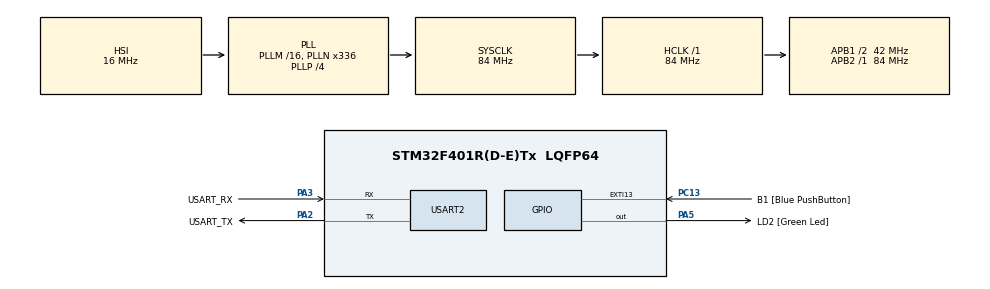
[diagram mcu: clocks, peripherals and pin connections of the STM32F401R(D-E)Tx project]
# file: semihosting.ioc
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Mcu.Family=STM32F4
Mcu.Name=STM32F401R(D-E)Tx
Mcu.Package=LQFP64
NVIC.PriorityGroup=NVIC_PRIORITYGROUP_0
PA13.GPIO_Label=TMS
PA13.Mode=Serial_Wire
PA13.Signal=SYS_JTMS-SWDIO
PA14.GPIO_Label=TCK
PA14.Mode=Serial_Wire
PA14.Signal=SYS_JTCK-SWCLK
PA2.GPIO_Label=USART_TX
PA2.GPIO_Mode=GPIO_MODE_AF_PP
PA2.GPIO_PuPd=GPIO_NOPULL
PA2.GPIO_Speed=GPIO_SPEED_FREQ_LOW
PA2.Mode=Asynchronous
PA2.Signal=USART2_TX
PA3.GPIO_Label=USART_RX
PA3.GPIO_Mode=GPIO_MODE_AF_PP
PA3.GPIO_PuPd=GPIO_NOPULL
PA3.GPIO_Speed=GPIO_SPEED_FREQ_LOW
PA3.Mode=Asynchronous
PA3.Signal=USART2_RX
PA5.GPIO_Label=LD2 [Green Led]
PA5.GPIO_Mode=GPIO_MODE_OUTPUT_PP
PA5.GPIO_PuPd=GPIO_NOPULL
PA5.GPIO_Speed=GPIO_SPEED_FREQ_LOW
PA5.Signal=GPIO_Output
PB3.GPIO_Label=SWO
PB3.Signal=SYS_JTDO-SWO
PC13-ANTI_TAMP.GPIO_Label=B1 [Blue PushButton]
PC13-ANTI_TAMP.GPIO_ModeDefaultEXTI=GPIO_MODE_IT_FALLING
PC13-ANTI_TAMP.GPIO_PuPd=GPIO_NOPULL
PC13-ANTI_TAMP.Signal=GPXTI13
PC14-OSC32_IN.Mode=LSE-External-Oscillator
PC14-OSC32_IN.Signal=RCC_OSC32_IN
PC15-OSC32_OUT.Mode=LSE-External-Oscillator
PC15-OSC32_OUT.Signal=RCC_OSC32_OUT
PH0\ -\ OSC_IN.Mode=HSE-External-Clock-Source
PH0\ -\ OSC_IN.Signal=RCC_OSC_IN
PH1\ -\ OSC_OUT.Mode=HSE-External-Clock-Source
PH1\ -\ OSC_OUT.Signal=RCC_OSC_OUT
ProjectManager.HeapSize=0x200
ProjectManager.StackSize=0x400
ProjectManager.TargetToolchain=STM32CubeIDE
RCC.48MHZClocksFreq_Value=48000000
RCC.AHBFreq_Value=84000000
RCC.APB1CLKDivider=RCC_HCLK_DIV2
RCC.APB1Freq_Value=42000000
RCC.APB1TimFreq_Value=84000000
RCC.APB2Freq_Value=84000000
RCC.APB2TimFreq_Value=84000000
RCC.CortexFreq_Value=84000000
RCC.HCLKFreq_Value=84000000
RCC.HSE_VALUE=8000000
RCC.HSI_VALUE=16000000
RCC.PLLN=336
RCC.PLLP=RCC_PLLP_DIV4
RCC.PLLQ=7
RCC.SYSCLKFreq_VALUE=84000000
RCC.SYSCLKSource=RCC_SYSCLKSOURCE_PLLCLK
RCC.VCOOutputFreq_Value=336000000
USART2.VirtualMode=VM_ASYNC
board=NUCLEO-F401RE

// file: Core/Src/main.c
/* USER CODE BEGIN Header */
/**
  ******************************************************************************
  * @file           : main.c
  * @brief          : Main program body
  ******************************************************************************
  * @attention
  *
  * Copyright (c) 2024 STMicroelectronics.
  * All rights reserved.
  *
  * This software is licensed under terms that can be found in the LICENSE file
  * in the root directory of this software component.
  * If no LICENSE file comes with this software, it is provided AS-IS.
  *
  ******************************************************************************
  */
/* USER CODE END Header */
#include "main.h"
#include <string.h>
#include <stdio.h>

UART_HandleTypeDef huart2;

void SystemClock_Config(void);
static void MX_GPIO_Init(void);
static void MX_USART2_UART_Init(void);

/* USER CODE BEGIN 0 */
extern void initialise_monitor_handles(void);
/* USER CODE END 0 */

int main(void)
{
  /* USER CODE BEGIN 1 */
	char buffer[255];
	uint8_t counter = 0;
	initialise_monitor_handles();
  /* USER CODE END 1 */

  /* MCU Configuration--------------------------------------------------------*/

  /* Reset of all peripherals, Initializes the Flash interface and the Systick. */
  HAL_Init();

  /* Configure the system clock */
  SystemClock_Config();

  /* Initialize all configured peripherals */
  MX_GPIO_Init();
  MX_USART2_UART_Init();
  /* USER CODE BEGIN 2 */
  printf("Hello World\nEnter your name: ");
  //HAL_Delay(1000);
  gets(buffer);
  //HAL_Delay(1000);
  printf("\nHello %s!!!\n", buffer);
  //File Descriptor to Text File
  FILE *fd_txt_file = fopen("/home/shankaraditya/STM32CubeIDE/workspace_1.14.0/semihosting/sample1.txt", "w+");
  //File Descriptor to Binary File
  FILE *fd_binary_file = fopen("/home/shankaraditya/STM32CubeIDE/workspace_1.14.0/semihosting/sample2.bin", "wb+");
  if(fd_txt_file)
  {
	 fprintf(fd_txt_file, "%s", buffer);
	 fclose(fd_txt_file);
  }
  if(fd_binary_file)
  {
	  fwrite(&buffer, sizeof(char), 1, fd_binary_file);
	  fclose(fd_binary_file);
  }
  /* USER CODE END 2 */

  /* Infinite loop */
  while (1)
  {
	  printf("Counter = %d\n", counter++);
  }
}

void SystemClock_Config(void)
{
  RCC_OscInitTypeDef RCC_OscInitStruct = {0};
  RCC_ClkInitTypeDef RCC_ClkInitStruct = {0};

  /** Configure the main internal regulator output voltage
  */
  __HAL_RCC_PWR_CLK_ENABLE();
  __HAL_PWR_VOLTAGESCALING_CONFIG(PWR_REGULATOR_VOLTAGE_SCALE2);

  /** Initializes the RCC Oscillators according to the specified parameters
  * in the RCC_OscInitTypeDef structure.
  */
  RCC_OscInitStruct.OscillatorType = RCC_OSCILLATORTYPE_HSI;
  RCC_OscInitStruct.HSIState = RCC_HSI_ON;
  RCC_OscInitStruct.HSICalibrationValue = RCC_HSICALIBRATION_DEFAULT;
  RCC_OscInitStruct.PLL.PLLState = RCC_PLL_ON;
  RCC_OscInitStruct.PLL.PLLSource = RCC_PLLSOURCE_HSI;
  RCC_OscInitStruct.PLL.PLLM = 16;
  RCC_OscInitStruct.PLL.PLLN = 336;
  RCC_OscInitStruct.PLL.PLLP = RCC_PLLP_DIV4;
  RCC_OscInitStruct.PLL.PLLQ = 7;
  if (HAL_RCC_OscConfig(&RCC_OscInitStruct) != HAL_OK)
  {
    Error_Handler();
  }

  /** Initializes the CPU, AHB and APB buses clocks
  */
  RCC_ClkInitStruct.ClockType = RCC_CLOCKTYPE_HCLK|RCC_CLOCKTYPE_SYSCLK
                              |RCC_CLOCKTYPE_PCLK1|RCC_CLOCKTYPE_PCLK2;
  RCC_ClkInitStruct.SYSCLKSource = RCC_SYSCLKSOURCE_PLLCLK;
  RCC_ClkInitStruct.AHBCLKDivider = RCC_SYSCLK_DIV1;
  RCC_ClkInitStruct.APB1CLKDivider = RCC_HCLK_DIV2;
  RCC_ClkInitStruct.APB2CLKDivider = RCC_HCLK_DIV1;

  if (HAL_RCC_ClockConfig(&RCC_ClkInitStruct, FLASH_LATENCY_2) != HAL_OK)
  {
    Error_Handler();
  }
}

static void MX_USART2_UART_Init(void)
{

  huart2.Instance = USART2;
  huart2.Init.BaudRate = 115200;
  huart2.Init.WordLength = UART_WORDLENGTH_8B;
  huart2.Init.StopBits = UART_STOPBITS_1;
  huart2.Init.Parity = UART_PARITY_NONE;
  huart2.Init.Mode = UART_MODE_TX_RX;
  huart2.Init.HwFlowCtl = UART_HWCONTROL_NONE;
  huart2.Init.OverSampling = UART_OVERSAMPLING_16;
  if (HAL_UART_Init(&huart2) != HAL_OK)
  {
    Error_Handler();
  }

}

static void MX_GPIO_Init(void)
{
  GPIO_InitTypeDef GPIO_InitStruct = {0};

  /* GPIO Ports Clock Enable */
  __HAL_RCC_GPIOC_CLK_ENABLE();
  __HAL_RCC_GPIOH_CLK_ENABLE();
  __HAL_RCC_GPIOA_CLK_ENABLE();
  __HAL_RCC_GPIOB_CLK_ENABLE();

  /*Configure GPIO pin Output Level */
  HAL_GPIO_WritePin(LD2_GPIO_Port, LD2_Pin, GPIO_PIN_RESET);

  /*Configure GPIO pin : B1_Pin */
  GPIO_InitStruct.Pin = B1_Pin;
  GPIO_InitStruct.Mode = GPIO_MODE_IT_FALLING;
  GPIO_InitStruct.Pull = GPIO_NOPULL;
  HAL_GPIO_Init(B1_GPIO_Port, &GPIO_InitStruct);

  /*Configure GPIO pin : LD2_Pin */
  GPIO_InitStruct.Pin = LD2_Pin;
  GPIO_InitStruct.Mode = GPIO_MODE_OUTPUT_PP;
  GPIO_InitStruct.Pull = GPIO_NOPULL;
  GPIO_InitStruct.Speed = GPIO_SPEED_FREQ_LOW;
  HAL_GPIO_Init(LD2_GPIO_Port, &GPIO_InitStruct);

}

void Error_Handler(void)
{
  __disable_irq();
  while (1)
  {
  }
}
